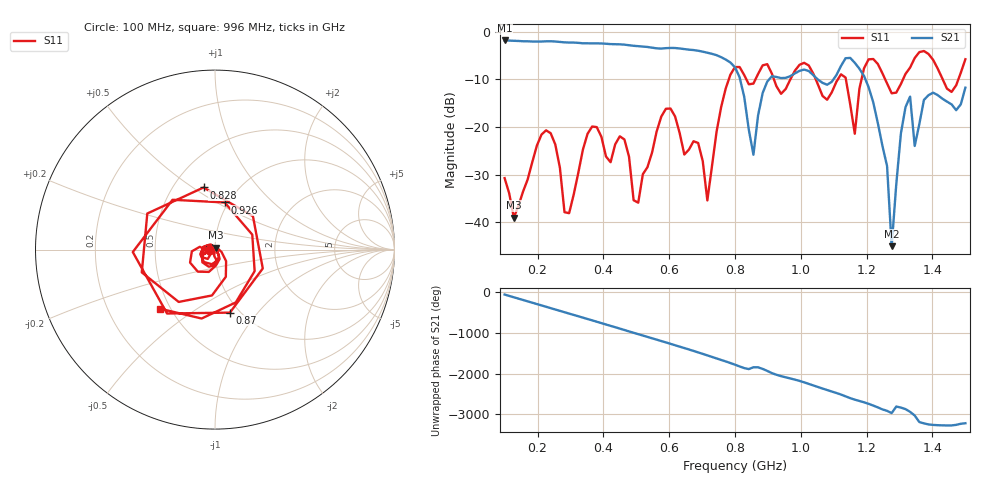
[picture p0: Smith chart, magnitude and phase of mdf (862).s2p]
! NanoVNA-App
! Date: 2025-09-25 15:45:08
! Start: 100MHz Stop: 1,5GHz Points: 101
! S-Parameter data: F S11 S21 S12 S22
# Hz S RI R 50
!  Frequency  S11_Real  S11_Imag  S21_Real  S21_Imag  S12_Real  S12_Imag  S22_Real  S22_Imag
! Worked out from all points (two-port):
!   101 points, 100 MHz to 1.5 GHz, reference 50 ohm
!   highest |S21| = -1.80 dB at 100 MHz (marker M1); lowest = -45.0 dB at 1.276 GHz (marker M2)
!   |S21| within 3 dB of the highest: start of sweep to 739.4 MHz
!   lowest |S11| = -39.0 dB at 128 MHz (marker M3), VSWR 1.02, Z = 50.3 + j1.08 ohm
!   |S11| at or under -10 dB: start of sweep to 781.1 MHz; 918.5 MHz to 968 MHz (49.53 MHz wide, 5.25 % of centre); 1.045 GHz to 1.112 GHz (66.86 MHz wide, 6.2 % of centre) (the widest 3 of 7)
!   S12 and S22 are empty: the file has one direction only
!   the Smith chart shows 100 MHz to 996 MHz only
!   S11 on the Smith chart (normalised r, x): 100 MHz: 0.94, -0.01; 828 MHz: 0.70, +0.55; 870 MHz: 0.90, -0.73; 926 MHz: 0.96, +0.54; 996 MHz: 0.44, -0.36
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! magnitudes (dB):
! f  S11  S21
! 100 MHz  -30.7  -1.8
! 128 MHz  -39.0  -1.9
! 212 MHz  -21.6  -2.0
! 282 MHz  -37.9  -2.2
! 338 MHz  -24.7  -2.4
! 464 MHz  -22.6  -2.7
! 506 MHz  -35.9  -3.0
! 576 MHz  -17.8  -3.5
! 716 MHz  -35.4  -4.4
! 800 MHz  -7.4  -7.4
! 828 MHz  -9.1  -13.6
! 870 MHz  -8.9  -17.6
! 926 MHz  -11.4  -9.5
! 996 MHz  -6.9  -8.2
! 1.038 GHz  -8.8  -9.1
! 1.164 GHz  -21.4  -6.5
! 1.192 GHz  -7.6  -9.3
! 1.262 GHz  -10.8  -28.2
! 1.276 GHz  -12.9  -45.0
! 1.332 GHz  -7.5  -13.6
! 1.346 GHz  -5.5  -24.0
! 1.5 GHz  -5.7  -11.7
